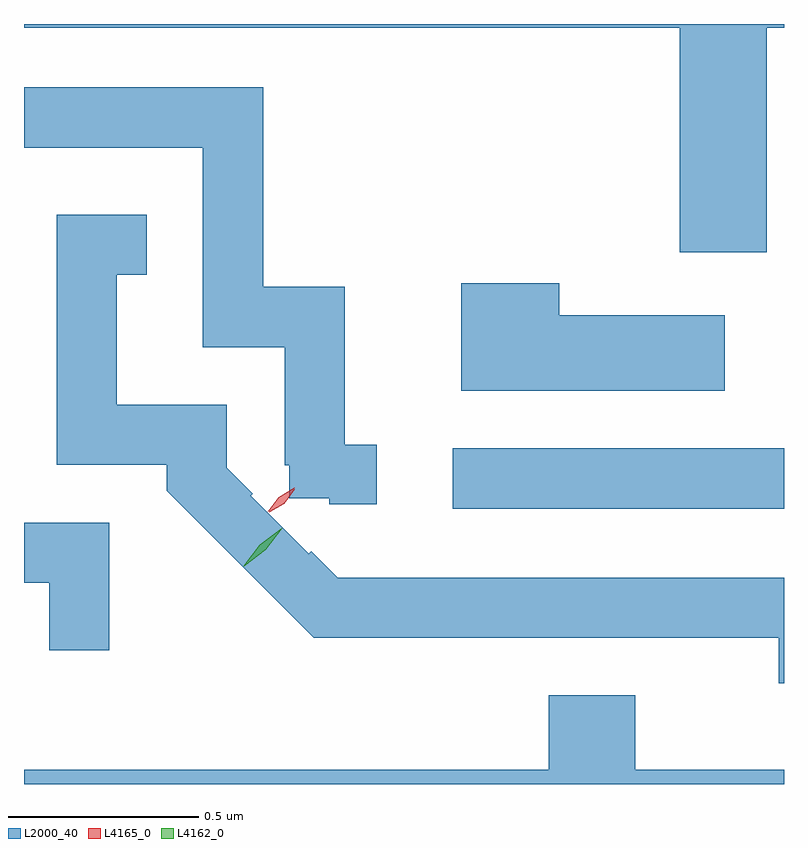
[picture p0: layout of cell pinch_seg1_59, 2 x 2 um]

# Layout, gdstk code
import gdstk
lib = gdstk.Library(unit=1e-6, precision=1e-09)
def R(c, l, rs):  # rectangles x0, y0, x1, y1
    for r in rs: c.add(gdstk.rectangle(r[:2], r[2:], *l))
def P(c, l, *ps):  # polygons
    for p in ps: c.add(gdstk.Polygon(p, *l))
L2000_40 = (2000, 40)
L4162_0 = (4162, 0)
L4165_0 = (4165, 0)

pinch_seg1_59 = lib.new_cell('pinch_seg1_59')
R(pinch_seg1_59, L2000_40, [(1415.153,849.471,1416.025,849.629)])
P(pinch_seg1_59, L2000_40, [(1415.979,850.736),(1416.025,850.736),(1416.025,850.746),(1414.025,850.746),(1414.025,850.736),(1415.751,850.736),(1415.751,850.146),(1415.979,850.146)],
  [(1414.953,849.639),(1414.869,849.639),(1414.869,850.054),(1414.654,850.054),(1414.654,850.579),(1414.025,850.579),(1414.025,850.421),(1414.496,850.421),(1414.496,849.896),(1414.711,849.896),(1414.711,849.585),(1414.723,849.585),(1414.723,849.498),(1414.828,849.498),(1414.828,849.482),(1414.953,849.482)],
  [(1416.025,849.289),(1414.851,849.289),(1414.781,849.359),(1414.774,849.352),(1414.622,849.504),(1414.627,849.51),(1414.559,849.578),(1414.559,849.744),(1414.269,849.744),(1414.269,850.086),(1414.348,850.086),(1414.348,850.244),(1414.111,850.244),(1414.111,849.586),(1414.401,849.586),(1414.401,849.518),(1414.788,849.131),(1416.011,849.131),(1416.011,849.011),(1416.025,849.011)],
  [(1415.869,849.979),(1415.434,849.979),(1415.434,850.064),(1415.176,850.064),(1415.176,849.781),(1415.869,849.781)],
  [(1414.249,849.434),(1414.025,849.434),(1414.025,849.276),(1414.091,849.276),(1414.091,849.098),(1414.249,849.098)],
  [(1416.025,848.784),(1415.634,848.784),(1415.634,848.979),(1415.406,848.979),(1415.406,848.784),(1414.025,848.784),(1414.025,848.746),(1416.025,848.746)])
P(pinch_seg1_59, L4162_0, [(1414.603,849.319),(1414.603,849.32),(1414.646,849.376),(1414.703,849.419),(1414.704,849.419),(1414.704,849.419),(1414.661,849.362),(1414.604,849.319)])
P(pinch_seg1_59, L4165_0, [(1414.666,849.462),(1414.666,849.462),(1414.695,849.501),(1414.736,849.526),(1414.737,849.526),(1414.737,849.525),(1414.708,849.487),(1414.667,849.462)],
  [(1414.67,849.461),(1414.67,849.462),(1414.697,849.499),(1414.736,849.522),(1414.737,849.522),(1414.737,849.522),(1414.71,849.484),(1414.671,849.461)])

lib.write_gds('pinch_seg1_59.gds')
